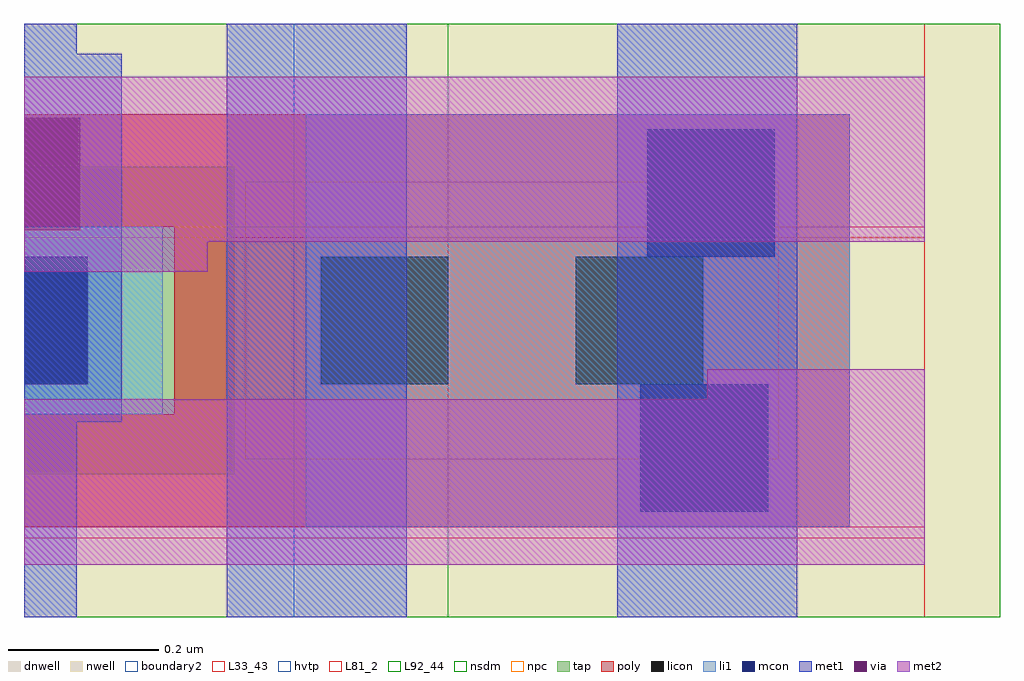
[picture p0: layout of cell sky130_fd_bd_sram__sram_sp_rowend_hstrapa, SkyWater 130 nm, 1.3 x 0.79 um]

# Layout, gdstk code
import gdstk
lib = gdstk.Library(unit=1e-6, precision=1e-09)
def R(c, l, rs):  # rectangles x0, y0, x1, y1
    for r in rs: c.add(gdstk.rectangle(r[:2], r[2:], *l))
def P(c, l, *ps):  # polygons
    for p in ps: c.add(gdstk.Polygon(p, *l))
L33_43 = (33, 43)
dnwell = (64, 18)
nwell = (64, 20)
tap = (65, 44)
poly = (66, 20)
licon = (66, 44)
li1 = (67, 20)
mcon = (67, 44)
met1 = (68, 20)
via = (68, 44)
met2 = (69, 20)
hvtp = (78, 44)
L81_2 = (81, 2)
L92_44 = (92, 44)
nsdm = (93, 44)
npc = (95, 20)
boundary2 = (236, 0)

sky130_fd_bd_sram__sram_ = lib.new_cell('sky130_fd_bd_sram__sram_sp_rowend_hstrapa')
R(sky130_fd_bd_sram__sram_, L33_43, [(0,0.105,1.2,0.12), (0,0.505,1.2,0.52)])
R(sky130_fd_bd_sram__sram_, dnwell, [(0,0,1.3,0.79)])
R(sky130_fd_bd_sram__sram_, nwell, [(0,0,1.3,0.79), (0,0,1.2,0.79)])
R(sky130_fd_bd_sram__sram_, tap, [(0,0.19,0.28,0.6)])
R(sky130_fd_bd_sram__sram_, poly, [(0,0.12,1.1,0.27), (0.2,0.12,1.1,0.67), (0,0.52,1.1,0.67)])
R(sky130_fd_bd_sram__sram_, licon, [(0,0.31,0.085,0.48), (0.395,0.31,0.565,0.48), (0.735,0.31,0.905,0.48)])
R(sky130_fd_bd_sram__sram_, li1, [(0.375,0.12,1.1,0.67), (0,0.27,0.185,0.52)])
R(sky130_fd_bd_sram__sram_, mcon, [(0.821,0.14,0.991,0.31), (0,0.31,0.085,0.48), (0.83,0.48,1,0.65)])
R(sky130_fd_bd_sram__sram_, met1, [(0,0,0.07,0.26), (0.27,0,0.51,0.79), (0.79,0,1.03,0.79), (0,0.26,0.13,0.58), (0,0.58,0.13,0.75), (0,0.75,0.07,0.79)])
R(sky130_fd_bd_sram__sram_, via, [(0,0.515,0.075,0.665)])
P(sky130_fd_bd_sram__sram_, met2, [(0,0.07),(0,0.29),(0.91,0.29),(0.91,0.33),(1.2,0.33),(1.2,0.07)],
  [(0,0.46),(0,0.72),(1.2,0.72),(1.2,0.5),(0.245,0.5),(0.245,0.46)])
R(sky130_fd_bd_sram__sram_, hvtp, [(0,0,0.36,0.79)])
R(sky130_fd_bd_sram__sram_, L81_2, [(0,0,1.2,0.79)])
R(sky130_fd_bd_sram__sram_, L92_44, [(0,0,0.565,0.79)])
R(sky130_fd_bd_sram__sram_, nsdm, [(0,0,1.3,0.79)])
R(sky130_fd_bd_sram__sram_, npc, [(0.295,0.21,1.005,0.58)])
R(sky130_fd_bd_sram__sram_, boundary2, [(0,0,1.3,0.79)])

lib.write_gds('sky130_fd_bd_sram__sram_sp_rowend_hstrapa.gds')
